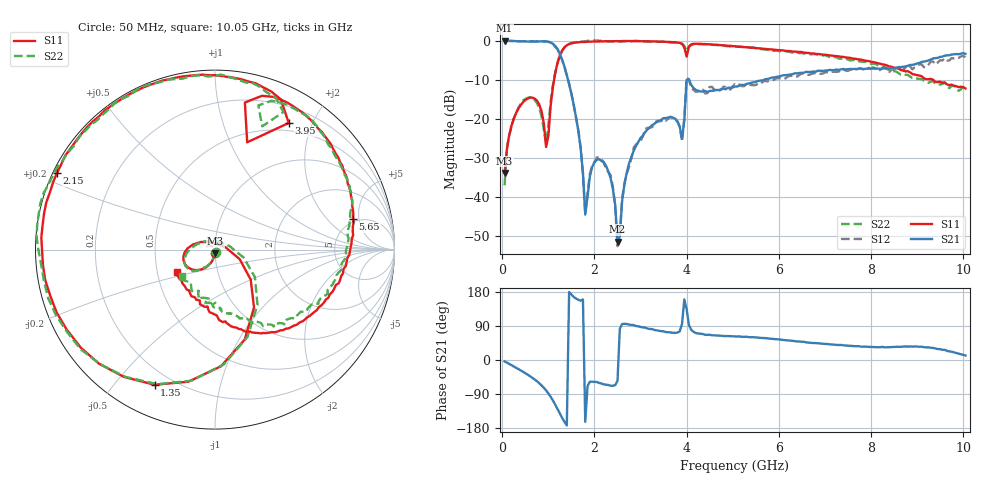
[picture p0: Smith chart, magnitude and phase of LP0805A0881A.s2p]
! AVX THIN FILM OPERATION
! 0805 Size Low Pass Filter P/N  LP0805A0881AWTR
! Network Analyzer HP8720ES.07.64: Feb 23, 2000 Serial No. US39172382
! Hewlett-Packard
!  2 Feb 2003  02:38:38
! Frequency  S11  S21  S12  S22
# HZ  S  DB R  50
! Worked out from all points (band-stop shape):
!   201 points, 50 MHz to 10.05 GHz, reference 50 ohm
!   highest |S21| = -0.02 dB at 50 MHz (marker M1); lowest = -51.5 dB at 2.5 GHz (marker M2)
!   |S21| within 3 dB of the highest: start of sweep to 1.232 GHz
!   lowest |S11| = -33.9 dB at 50 MHz (marker M3), VSWR 1.04, Z = 50.1 - j2.01 ohm
!   |S11| at or under -10 dB: start of sweep to 1.124 GHz; 9.348 GHz to end of sweep
!   |S22| runs from -37.1 to 0.1 dB; largest |S21 - S12| = 0.14
!   S11 on the Smith chart (normalised r, x): 50 MHz: 1.00, -0.04; 1.35 GHz: 0.14, -0.64; 2.15 GHz: 0.01, +0.23; 3.95 GHz: 0.39, +1.67; 5.65 GHz: 4.57, +4.13; 10.05 GHz: 0.64, -0.17
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5e7  -33.92 -87.2  -0.02 -3.6  0.02 -3.6  -37.08 -74.3
1.5e8  -24.21 -102.6  -0.07 -10.3  -0.04 -9.9  -24.40 -105.2
4.5e8  -15.77 -135.7  -0.18 -31.0  -0.16 -31.1  -15.35 -135.5
8e8  -16.33 177.2  -0.20 -61.1  -0.18 -61.3  -17.24 178.0
9.5e8  -27.27 110.6  -0.21 -80.2  -0.19 -80.0  -26.35 82.7
1.15e9  -8.20 -56.0  -1.38 -118.1  -1.61 -117.3  -8.21 -52.5
1.35e9  -1.67 -114.1  -6.76 -163.2  -6.65 -163.9  -1.76 -113.2
1.75e9  -0.33 -174.7  -33.86 159.9  -34.31 158.3  -0.25 -174.5
1.8e9  -0.32 -179.6  -44.59 -163.2  -44.45 -159.6  -0.15 -179.7
1.95e9  -0.23 167.9  -32.40 -57.2  -32.02 -61.3  0.02 168.8
2.15e9  -0.19 154.2  -30.83 -62.1  -30.43 -65.4  -0.05 156.3
2.4e9  -0.13 139.2  -38.05 -68.0  -37.55 -73.3  -0.15 140.3
2.5e9  -0.12 133.7  -51.51 -54.6  -52.70 -51.7  -0.17 135.0
2.85e9  -0.11 116.3  -28.27 92.2  -27.47 91.8  -0.08 116.5
3.4e9  -0.25 91.9  -20.54 77.1  -20.69 72.4  -0.31 92.3
3.95e9  -1.76 59.8  -20.41 159.9  -19.89 163.0  -1.35 63.6
4e9  -4.09 73.3  -10.03 134.1  -9.52 131.2  -2.67 69.0
5.05e9  -1.42 33.3  -11.76 62.2  -11.13 59.4  -1.52 31.9
5.65e9  -2.08 12.6  -10.20 58.1  -10.59 57.4  -2.22 13.7
6.75e9  -3.27 -23.0  -7.90 44.7  -8.39 44.7  -3.42 -21.5
8.4e9  -6.62 -71.9  -7.14 33.8  -8.01 28.7  -7.65 -65.8
1.005e10  -12.24 -149.2  -3.36 11.7  -4.24 8.9  -12.54 -140.7
